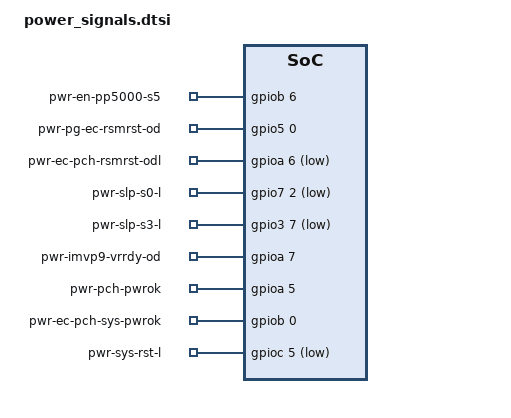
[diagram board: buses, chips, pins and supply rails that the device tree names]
/* Copyright 2025 The ChromiumOS Authors
 * Use of this source code is governed by a BSD-style license that can be
 * found in the LICENSE file.
 */

/ {
	chosen {
		intel-ap-pwrseq,espi = &espi0;
	};

	common-pwrseq {
		compatible = "intel,ap-pwrseq";

		sys-pwrok-delay = <10>;
		all-sys-pwrgd-timeout = <20>;
	};

	pwr-en-pp5000-s5 {
		compatible = "intel,ap-pwrseq-gpio";
		dbg-label = "PP5000_S5 enable output to regulator";
		enum-name = "PWR_EN_PP5000_A";
		gpios = <&gpiob 6 0>;
		output;
	};
	pwr-pg-ec-rsmrst-od {
		compatible = "intel,ap-pwrseq-gpio";
		dbg-label = "RSMRST power good from regulator";
		enum-name = "PWR_RSMRST_PWRGD";
		gpios = <&gpio5 0 0>;
		interrupt-flags = <GPIO_INT_EDGE_BOTH>;
	};
	pwr-ec-pch-rsmrst-odl {
		compatible = "intel,ap-pwrseq-gpio";
		dbg-label = "RSMRST output to PCH";
		enum-name = "PWR_EC_PCH_RSMRST";
		gpios = <&gpioa 6 (GPIO_ACTIVE_LOW | GPIO_VOLTAGE_1P8)>;
		reset-val = <1>;
		output;
	};
	pwr-slp-s0-l {
		compatible = "intel,ap-pwrseq-gpio";
		dbg-label = "SLP_S0_L input from PCH";
		enum-name = "PWR_SLP_S0";
		gpios = <&gpio7 2 (GPIO_ACTIVE_LOW | GPIO_VOLTAGE_1P8)>;
		interrupt-flags = <GPIO_INT_EDGE_BOTH>;
	};
	pwr-slp-s3-l {
		compatible = "intel,ap-pwrseq-gpio";
		dbg-label = "SLP_S3_L input from PCH";
		enum-name = "PWR_SLP_S3";
		gpios = <&gpio3 7 (GPIO_ACTIVE_LOW | GPIO_VOLTAGE_1P8)>;
		interrupt-flags = <GPIO_INT_EDGE_BOTH>;
	};
	pwr-imvp9-vrrdy-od {
		compatible = "intel,ap-pwrseq-gpio";
		dbg-label = "VRRDY input from IMVP9";
		enum-name = "PWR_IMVP9_VRRDY";
		gpios = <&gpioa 7 0>;
	};
	pwr-pch-pwrok {
		compatible = "intel,ap-pwrseq-gpio";
		dbg-label = "PCH_PWROK output to PCH";
		enum-name = "PWR_PCH_PWROK";
		gpios = <&gpioa 5 GPIO_VOLTAGE_1P8>;
		output;
	};
	pwr-ec-pch-sys-pwrok {
		compatible = "intel,ap-pwrseq-gpio";
		dbg-label = "SYS_PWROK output to PCH";
		enum-name = "PWR_EC_PCH_SYS_PWROK";
		gpios = <&gpiob 0 GPIO_VOLTAGE_1P8>;
		output;
	};
	pwr-sys-rst-l {
		compatible = "intel,ap-pwrseq-gpio";
		dbg-label = "SYS_RESET# output to PCH";
		enum-name = "PWR_SYS_RST";
		gpios = <&gpioc 5 (GPIO_ACTIVE_LOW | GPIO_OPEN_DRAIN | GPIO_VOLTAGE_1P8)>;
		output;
	};
	pwr-slp-s4 {
		compatible = "intel,ap-pwrseq-vw";
		dbg-label = "SLP_S5 virtual wire input from PCH";
		enum-name = "PWR_SLP_S4";
		virtual-wire = "ESPI_VWIRE_SIGNAL_SLP_S4";
		reset-val = <1>;
		vw-invert;
	};
	pwr-slp-s5 {
		compatible = "intel,ap-pwrseq-vw";
		dbg-label = "SLP_S5 virtual wire input from PCH";
		enum-name = "PWR_SLP_S5";
		virtual-wire = "ESPI_VWIRE_SIGNAL_SLP_S5";
		reset-val = <1>;
		vw-invert;
	};
	pwr-all-sys-pwrgd {
		compatible = "intel,ap-pwrseq-external";
		dbg-label = "Combined all power good";
		enum-name = "PWR_ALL_SYS_PWRGD";
	};
};

/*
 * Because the power signals directly reference the GPIOs,
 * the correspinding named-gpios need to have no-auto-init set.
 */
&gpio_ec_plt_pwrok {
	no-auto-init;
};
&gpio_ec_soc_rsmrst_l {
	no-auto-init;
};
&gpio_ec_soc_sys_pwrok {
	no-auto-init;
};
&gpio_en_s5_rails {
	no-auto-init;
};
&gpio_imvp9_vrrdy_od {
	no-auto-init;
};
&gpio_slp_s0ix_l {
	no-auto-init;
};
&gpio_ec_nuv_slp_s3_l {
	no-auto-init;
};
&gpio_ec_nuv_slp_s4_l {
	no-auto-init;
};
&gpio_sys_rst_odl {
	no-auto-init;
};
